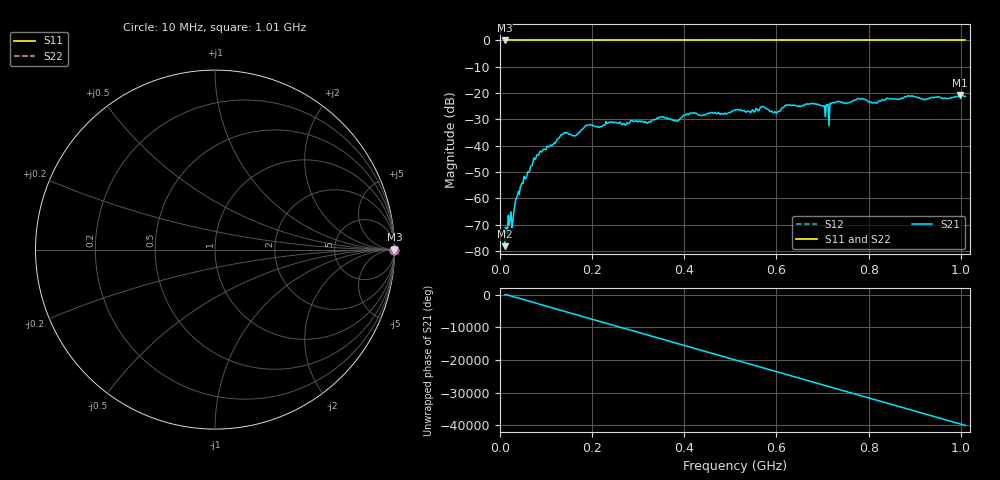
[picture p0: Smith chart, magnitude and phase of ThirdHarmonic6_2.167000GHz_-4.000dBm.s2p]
! 8/17/2025 1:51:26 AM
! C:\ANRITSUVNA\TEMP\TEMP.S2P
! CHANNEL.1
! TR.MEASUREMENT
! RAW.DATA
! RF.CORRECTION.OFF
! AVERAGING.OFF
! IF.BANDWIDTH: 5KHZ
! SWEEPTYPE:  FREQ.SWEEP(Linear)
! Reference Plane Port Info
! PORT:  PORT1  PORT2
! DISTANCE:  0  m  0  m
! TIME:  0  s  0  s
! PHASE.OFFSET:  0  deg.  0  deg.
! LOSS:  0  dB  0  dB
! REF.LOSS:  0  dB  0  dB
! REF.FREQ:  0  Hz  0  Hz
! Power Info
! POWER:  -20  dBm  -20  dBm
! EFF.POWER:  -20  dBm  -20  dBm
! SOURCE.ATTEN:  0  dB  0  dB
! TEST.ATTEN:  0  dB  0  dB
# GHZ S RI R 50.0
! FREQ.GHZ  S11RE  S11IM  S21RE  S21IM  S12RE  S12IM  S22RE  S22IM
!; PortSelection: Port_12
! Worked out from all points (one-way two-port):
!   501 points, 10 MHz to 1.01 GHz, reference 50 ohm
!   highest |S21| = -20.73 dB at 998 MHz (marker M1); lowest = -78.2 dB at 10 MHz (marker M2)
!   lowest |S11| = 0.0 dB at 10 MHz (marker M3)
!   |S11| at or under -10 dB: nowhere
!   |S22| runs from 0.0 to 0.0 dB; largest |S21 - S12| = 1.1
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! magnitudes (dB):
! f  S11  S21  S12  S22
! 10 MHz  0.0  -78.2  0.0  0.0
! 16 MHz  0.0  -73.5  0.0  0.0
! 30 MHz  0.0  -65.1  0.0  0.0
! 36 MHz  0.0  -59.7  0.0  0.0
! 48 MHz  0.0  -54.2  0.0  0.0
! 78 MHz  0.0  -44.7  0.0  0.0
! 136 MHz  0.0  -35.7  0.0  0.0
! 162 MHz  0.0  -36.2  0.0  0.0
! 178 MHz  0.0  -33.8  0.0  0.0
! 344 MHz  0.0  -29.6  0.0  0.0
! 384 MHz  0.0  -30.5  0.0  0.0
! 416 MHz  0.0  -27.8  0.0  0.0
! 510 MHz  0.0  -26.5  0.0  0.0
! 570 MHz  0.0  -25.2  0.0  0.0
! 598 MHz  0.0  -27.3  0.0  0.0
! 622 MHz  0.0  -24.6  0.0  0.0
! 678 MHz  0.0  -23.9  0.0  0.0
! 710 MHz  0.0  -24.4  0.0  0.0
! 732 MHz  0.0  -23.2  0.0  0.0
! 844 MHz  0.0  -22.1  0.0  0.0
! 998 MHz  0.0  -20.7  0.0  0.0
! 1.01 GHz  0.0  -21.3  0.0  0.0
